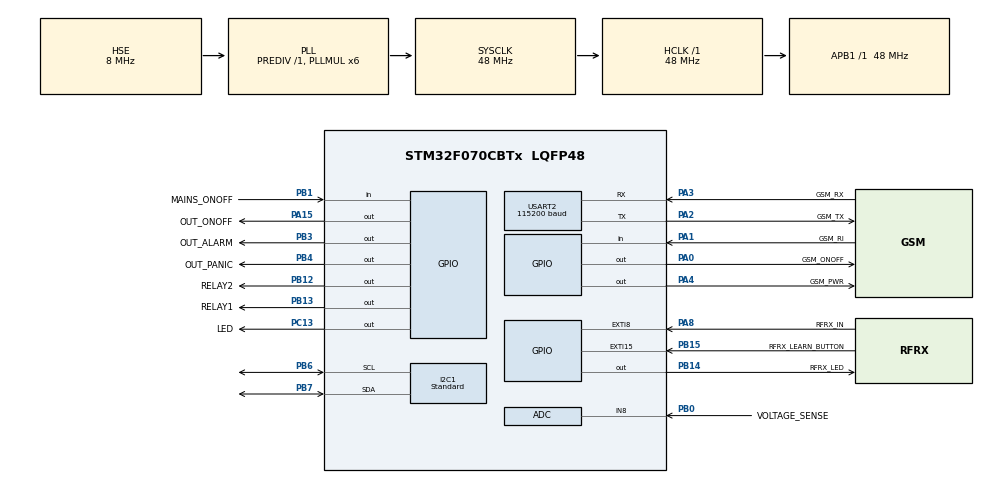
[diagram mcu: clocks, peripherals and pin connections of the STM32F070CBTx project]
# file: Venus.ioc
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ADC.ClockPrescaler=ADC_CLOCK_ASYNC_DIV1
ADC.ContinuousConvMode=DISABLE
ADC.DMAContinuousRequests=DISABLE
ADC.DataAlign=ADC_DATAALIGN_RIGHT
ADC.DiscontinuousConvMode=DISABLE
ADC.EOCSelection=ADC_EOC_SINGLE_CONV
ADC.EnableAnalogWatchDog=false
ADC.ExternalTrigConv=ADC_SOFTWARE_START
ADC.ExternalTrigConvEdge=ADC_EXTERNALTRIGCONVEDGE_NONE
ADC.LowPowerAutoPowerOff=DISABLE
ADC.LowPowerAutoWait=DISABLE
ADC.Overrun=ADC_OVR_DATA_PRESERVED
ADC.Resolution=ADC_RESOLUTION_12B
ADC.SamplingTime=ADC_SAMPLETIME_239CYCLES_5
ADC.ScanConvMode=ADC_SCAN_DIRECTION_FORWARD
FREERTOS.MEMORY_ALLOCATION=2
FREERTOS.Tasks01=defaultTask,0,256,StartDefaultTask,Default,NULL,Static,defaultTaskBuffer,defaultTaskControlBlock;GSMTask,-3,256,StartGSMTask,Default,NULL,Static,GSMTaskBuffer,GSMTaskControlBlock
FREERTOS.configMINIMAL_STACK_SIZE=256
FREERTOS.configTOTAL_HEAP_SIZE=2000
FREERTOS.configUSE_NEWLIB_REENTRANT=1
I2C1.I2C_Speed_Mode=I2C_Standard
IWDG.Prescaler=IWDG_PRESCALER_256
Mcu.Family=STM32F0
Mcu.Name=STM32F070CBTx
Mcu.Package=LQFP48
NVIC.ADC1_IRQn=true\:3\:0\:false\:true\:true\:5\:true\:true\:true\:true
NVIC.EXTI4_15_IRQn=true\:3\:0\:true\:true\:true\:8\:true\:true\:true\:true
NVIC.I2C1_IRQn=true\:3\:0\:false\:true\:true\:2\:true\:true\:true\:true
NVIC.RCC_IRQn=true\:3\:0\:false\:true\:true\:4\:true\:true\:false\:true
NVIC.RTC_IRQn=true\:3\:0\:false\:true\:true\:3\:true\:true\:true\:true
NVIC.TIM17_IRQn=true\:3\:0\:false\:false\:true\:false\:false\:true\:true
NVIC.TIM6_IRQn=true\:3\:0\:false\:true\:true\:6\:true\:true\:true\:true
NVIC.TIM7_IRQn=true\:3\:0\:false\:true\:true\:7\:true\:true\:true\:true
NVIC.TimeBase=TIM17_IRQn
NVIC.TimeBaseIP=TIM17
NVIC.USART2_IRQn=true\:3\:0\:false\:true\:true\:9\:true\:true\:true\:true
PA0.GPIO_Label=GSM_ONOFF
PA0.Signal=GPIO_Output
PA1.GPIO_Label=GSM_RI
PA1.Signal=GPIO_Input
PA13.Mode=Serial_Wire
PA13.Signal=SYS_SWDIO
PA14.Mode=Serial_Wire
PA14.Signal=SYS_SWCLK
PA15.GPIO_Label=OUT_ONOFF
PA15.Signal=GPIO_Output
PA2.GPIO_Label=GSM_TX
PA2.Mode=Asynchronous
PA2.Signal=USART2_TX
PA3.GPIO_Label=GSM_RX
PA3.Mode=Asynchronous
PA3.Signal=USART2_RX
PA4.GPIO_Label=GSM_PWR
PA4.Signal=GPIO_Output
PA8.GPIO_Label=RFRX_IN
PA8.GPIO_ModeDefaultEXTI=GPIO_MODE_IT_RISING_FALLING
PA8.Signal=GPXTI8
PB0.GPIO_Label=VOLTAGE_SENSE
PB0.Mode=IN8
PB0.Signal=ADC_IN8
PB1.GPIO_Label=MAINS_ONOFF
PB1.Signal=GPIO_Input
PB12.GPIO_Label=RELAY2
PB12.Signal=GPIO_Output
PB13.GPIO_Label=RELAY1
PB13.Signal=GPIO_Output
PB14.GPIO_Label=RFRX_LED
PB14.Signal=GPIO_Output
PB15.GPIO_Label=RFRX_LEARN_BUTTON
PB15.Signal=GPXTI15
PB3.GPIO_Label=OUT_ALARM
PB3.Signal=GPIO_Output
PB4.GPIO_Label=OUT_PANIC
PB4.Signal=GPIO_Output
PB6.GPIO_Pu=GPIO_PULLUP
PB6.Mode=I2C
PB6.Signal=I2C1_SCL
PB7.GPIO_Pu=GPIO_PULLUP
PB7.Mode=I2C
PB7.Signal=I2C1_SDA
PC13.GPIO_Label=LED
PC13.Signal=GPIO_Output
PC14-OSC32_IN.Mode=LSE-External-Oscillator
PC14-OSC32_IN.Signal=RCC_OSC32_IN
PC15-OSC32_OUT.Mode=LSE-External-Oscillator
PC15-OSC32_OUT.Signal=RCC_OSC32_OUT
PF0-OSC_IN.Mode=HSE-External-Oscillator
PF0-OSC_IN.Signal=RCC_OSC_IN
PF1-OSC_OUT.Mode=HSE-External-Oscillator
PF1-OSC_OUT.Signal=RCC_OSC_OUT
ProjectManager.HeapSize=0x200
ProjectManager.StackSize=0x400
ProjectManager.TargetToolchain=STM32CubeIDE
RCC.AHBFreq_Value=48000000
RCC.APB1Freq_Value=48000000
RCC.APB1TimFreq_Value=48000000
RCC.HCLKFreq_Value=48000000
RCC.PLLMUL=RCC_PLL_MUL6
RCC.PLLSourceVirtual=RCC_PLLSOURCE_HSE
RCC.RTCClockSelection=RCC_RTCCLKSOURCE_LSE
RCC.SYSCLKFreq_VALUE=48000000
RCC.SYSCLKSource=RCC_SYSCLKSOURCE_PLLCLK
RTC.Alarm-Alarm\ A=RTC_ALARM_A
RTC.AlarmMaskDateWeekDay-Alarm\ A=RTC_ALARMMASK_DATEWEEKDAY
RTC.AlarmMaskHours-Alarm\ A=RTC_ALARMMASK_HOURS
RTC.AlarmMaskMinutes-Alarm\ A=RTC_ALARMMASK_MINUTES
RTC.AlarmMaskSeconds-Alarm\ A=RTC_ALARMMASK_SECONDS
RTC.AlarmSubSecondMask-Alarm\ A=RTC_ALARMSUBSECONDMASK_NONE
RTC.Format=RTC_FORMAT_BIN
TIM6.Period=10000
TIM6.Prescaler=100
TIM7.Period=1000
TIM7.Prescaler=2000
USART2.AutoBaudRateEnableParam=UART_ADVFEATURE_AUTOBAUDRATE_DISABLE
USART2.BaudRate=115200
USART2.VirtualMode-Asynchronous=VM_ASYNC
USART2.WordLength=WORDLENGTH_8B
VP_FREERTOS_VS_CMSIS_V1.Mode=CMSIS_V1
VP_IWDG_VS_IWDG.Mode=IWDG_Activate
VP_RTC_VS_RTC_Activate.Mode=RTC_Enabled
VP_RTC_VS_RTC_Alarm_A_Intern.Mode=Alarm A
VP_RTC_VS_RTC_Calendar.Mode=RTC_Calendar
VP_SYS_VS_tim17.Mode=TIM17
VP_TIM6_VS_ClockSourceINT.Mode=Enable_Timer
VP_TIM7_VS_ClockSourceINT.Mode=Enable_Timer
board=Venus

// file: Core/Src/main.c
/* USER CODE BEGIN Header */
/**
  ******************************************************************************
  * @file           : main.c
  * @brief          : Main program body
  ******************************************************************************
  * @attention
  *
  * Copyright (c) 2022 STMicroelectronics.
  * All rights reserved.
  *
  * This software is licensed under terms that can be found in the LICENSE file
  * in the root directory of this software component.
  * If no LICENSE file comes with this software, it is provided AS-IS.
  *
  ******************************************************************************
  */
/* USER CODE END Header */
#include "main.h"
#include "cmsis_os.h"

/* USER CODE BEGIN Includes */
#include "EEPROM.h";
#include "SIM800H.h";
const unsigned char ACK[2] = {	0x06, 0x00 };
extern unsigned char U2Rx_data[];
/* USER CODE END Includes */

/* USER CODE BEGIN PTD */
//extern unsigned char RXTimeout;
unsigned char RXTimeout;
extern unsigned char aRxBuffer[];
extern unsigned char aTxBuffer[];

unsigned char RXBUF[];
unsigned char RXP;
unsigned char RXCP;
extern unsigned char SPIPageBUF[];

extern unsigned char Reload_Device_Flag;
extern unsigned char LearnMode;
extern unsigned char LearnTimeout;
extern unsigned char creg_timer;
extern float Bat_Low_V;
extern float Bat_Ok_V;
extern unsigned char prev_id;
extern unsigned int prev_id_timer;
extern unsigned char Health_TX_Hour;
extern unsigned char Health_TX_Minute;
extern unsigned char Health_TX_days;

extern unsigned int no_data_Timer;

extern unsigned char NO_SIM;

extern unsigned char PrevSerialNum[4];
extern unsigned char match;

unsigned char minute_flag = 0;
unsigned char sec = 0;

unsigned char Erase_RF_Devices = 0;

signed int ADCValue = 0;

unsigned char bat_sample = 0;
unsigned char Sample_Battery = 0;

unsigned char Battery_Low = 0;
unsigned char Battery_Ok = 0;
unsigned char BatLow_Debounce = 0;
unsigned char BatOk_Debounce = 0;

unsigned char Prev_Mains = 1;
unsigned char Mains_Debounce = 0;

unsigned char Message[200];
extern unsigned char Out_Message[]; // 200
unsigned char Loopcount;
unsigned char Check_GSM_Registered = 0;
unsigned char Reset_GSM_Flag = 0;
unsigned char GPRS_Enabled = 0;
unsigned char GPRS_Barear_Started = 0;
unsigned long running_seconds = 0;
unsigned char Update_Mem_Flag = 0;

unsigned int year = 0;
unsigned char month = 0;
unsigned char day = 0;
unsigned char hours = 0;
unsigned char minutes = 0;
unsigned char seconds = 0;

unsigned char Disable_LED = 0;

unsigned char Airtime_Req_Timer = 0;

unsigned char TX_days_counter = 0;

unsigned char Panic_Out_Time = 0;
unsigned char Alarm_Out_Time = 0;
unsigned int Buzzer_Time = 0;
unsigned int Siren_Time = 0;

unsigned char Arm_Status = 0;
unsigned char Learn_Button_Time = 0;

extern unsigned int MesQue_Head;
extern unsigned int MesQue_Tail;

unsigned char Send_Health_Message = 0;

extern float BatteryVoltage;

#define TIMESYNC_SMS					100
#define PASSWORDS						101
#define SMSC_NUMBERS					102
#define TIME_24H_MESSAGE				103
#define INPUT_STATUS1_2					104
#define OUTPUTS_TIMER_VALUES			105
#define SIGNAL_STRENGTH					106
#define SOFTWARE_VERSION				107
#define AIRTIME							108
#define DATETIME						109
#define CELLREQ							110
#define OUTPUTS_STATUS					111
#define GPRS_SETTINGS_MESSAGE			112
#define GPRS_STATUS_MESSAGE				113
#define INPUT_STATUS5_6					114
#define CELL_LOCATION					115
/* USER CODE END PTD */

ADC_HandleTypeDef hadc;

I2C_HandleTypeDef hi2c1;

IWDG_HandleTypeDef hiwdg;

RTC_HandleTypeDef hrtc;

TIM_HandleTypeDef htim6;
TIM_HandleTypeDef htim7;

UART_HandleTypeDef huart2;

osThreadId defaultTaskHandle;
uint32_t defaultTaskBuffer[ 256 ];
osStaticThreadDef_t defaultTaskControlBlock;
osThreadId GSMTaskHandle;
uint32_t GSMTaskBuffer[ 256 ];
osStaticThreadDef_t GSMTaskControlBlock;

void SystemClock_Config(void);
static void MX_GPIO_Init(void);
static void MX_ADC_Init(void);
static void MX_I2C1_Init(void);
static void MX_RTC_Init(void);
static void MX_USART2_UART_Init(void);
static void MX_IWDG_Init(void);
static void MX_TIM6_Init(void);
static void MX_TIM7_Init(void);
void StartDefaultTask(void const * argument);
void StartGSMTask(void const * argument);

static void MX_NVIC_Init(void);

/* USER CODE BEGIN 0 */
void HAL_UART_RxCpltCallback(UART_HandleTypeDef *huart)
{
	if (huart->Instance == USART2)	//current UART
	{
		SIM800H_RX();
	}
}

/*
void Clear_RX_Buf(void)
{ unsigned int t = 0;
  for(t = 0;t < 256;t++) {
    RXBUF[t]=0;
  }
  RXP=0;
  RXCP=0;
}

unsigned char Search_RXBUF(void)
//   Search String = BUF
{ 	unsigned char x, y, Match, Pos, tc;
	unsigned char write_failed = 0;
	unsigned long addr;
	unsigned char * end;

	Pos=0xFF;
	y=0;
	Match=0;
	x=RXCP;
	while(x!=RXP) {
		if((RXBUF[x]>0)&&(RXBUF[x]<8)) {
			if(RXP!=(x-1)) {
				if((RXBUF[x] == 2)||(RXBUF[x] == 6))  {  // Write 24LC256 or 24LC512
					//smalleeprom = 0;
					write_failed = 0;
				    Match=x;
					Match++;
					if(Match!=RXP) {
						addr = RXBUF[Match] << 8;
						Match++;
						if(Match!=RXP) { addr |= RXBUF[Match];  Match++; }
						  else {
							  RXCP=Match;
							  break;
						  }  //  exit if not valid
						memcpy(&aTxBuffer, &RXBUF[3], RXP - 3);
						if(IIC_EEPROM_Write_Page(addr, RXP-3) == 0) {
							CDC_Transmit_FS(ACK, 1);  // Send ACK to PC
						} else {
							Clear_RX_Buf();
							break;
						}
					}
					Clear_RX_Buf();
					break;
				} else if((RXBUF[x] == 4)||(RXBUF[x] == 7))  {  // Read 24LC256 or 24LC512
					  //smalleeprom = 0;
					  Match=x;
					  Match++;
					  if(Match!=RXP) {
						  addr = RXBUF[Match] << 8;
						  Match++;
						  if(Match!=RXP) { addr |= RXBUF[Match];  Match++; }
							  else { RXCP=Match;  break; }  //  exit if not valid
						  tc = RXBUF[Match];
						  IIC_EEPROM_Read_Page(addr, 128);
						  end = memchr(aRxBuffer, tc, 128);
						  if(end == NULL) {
							  CDC_Transmit_FS(aRxBuffer, 64);
						  } else {
							  CDC_Transmit_FS(aRxBuffer, end - &aRxBuffer[0] + 1);
						  }

					  }
					  Clear_RX_Buf();
					  break;
			    } else if(RXBUF[x] == 5)  {  // Check Hardeware version
			    	Match=x;
			    	if(Match!=RXP) {
						CDC_Transmit_FS(ACK, 1);  // Send ACK to PC
					}
					Clear_RX_Buf();
					break;
			    } else {
					Clear_RX_Buf();
					break;
				}
			} else { // end if RXP!=
				Clear_RX_Buf();
				break;
			}
		}
		x++;
	}

	return(1);
}
*/
/* USER CODE END 0 */

int main(void)
{

  /* MCU Configuration--------------------------------------------------------*/

  /* Reset of all peripherals, Initializes the Flash interface and the Systick. */
  HAL_Init();

  /* Configure the system clock */
  SystemClock_Config();

  /* Initialize all configured peripherals */
  MX_GPIO_Init();
  MX_ADC_Init();
  MX_I2C1_Init();
  MX_RTC_Init();
  MX_USART2_UART_Init();
  MX_IWDG_Init();
  MX_TIM6_Init();
  MX_TIM7_Init();

  /* Initialize interrupts */
  MX_NVIC_Init();
  /* USER CODE BEGIN 2 */

   HAL_UART_Receive_IT(&huart2, U2Rx_data, 1);  // enable UART2 RX interrupt on RX
  /* USER CODE END 2 */

  /* Create the thread(s) */
  /* definition and creation of defaultTask */
  osThreadStaticDef(defaultTask, StartDefaultTask, osPriorityNormal, 0, 256, defaultTaskBuffer, &defaultTaskControlBlock);
  defaultTaskHandle = osThreadCreate(osThread(defaultTask), NULL);

  /* definition and creation of GSMTask */
  osThreadStaticDef(GSMTask, StartGSMTask, osPriorityIdle, 0, 256, GSMTaskBuffer, &GSMTaskControlBlock);
  GSMTaskHandle = osThreadCreate(osThread(GSMTask), NULL);

  /* Start scheduler */
  osKernelStart();

  /* We should never get here as control is now taken by the scheduler */
  /* Infinite loop */
  while (1)
  {

  }
}

void SystemClock_Config(void)
{
  RCC_OscInitTypeDef RCC_OscInitStruct = {0};
  RCC_ClkInitTypeDef RCC_ClkInitStruct = {0};
  RCC_PeriphCLKInitTypeDef PeriphClkInit = {0};

  /** Configure LSE Drive Capability
  */
  HAL_PWR_EnableBkUpAccess();
  __HAL_RCC_LSEDRIVE_CONFIG(RCC_LSEDRIVE_HIGH);

  /** Initializes the RCC Oscillators according to the specified parameters
  * in the RCC_OscInitTypeDef structure.
  */
  RCC_OscInitStruct.OscillatorType = RCC_OSCILLATORTYPE_HSI|RCC_OSCILLATORTYPE_HSI14
                              |RCC_OSCILLATORTYPE_LSI|RCC_OSCILLATORTYPE_HSE
                              |RCC_OSCILLATORTYPE_LSE;
  RCC_OscInitStruct.HSEState = RCC_HSE_ON;
  RCC_OscInitStruct.LSEState = RCC_LSE_ON;
  RCC_OscInitStruct.HSIState = RCC_HSI_ON;
  RCC_OscInitStruct.HSI14State = RCC_HSI14_ON;
  RCC_OscInitStruct.HSICalibrationValue = RCC_HSICALIBRATION_DEFAULT;
  RCC_OscInitStruct.HSI14CalibrationValue = 16;
  RCC_OscInitStruct.LSIState = RCC_LSI_ON;
  RCC_OscInitStruct.PLL.PLLState = RCC_PLL_ON;
  RCC_OscInitStruct.PLL.PLLSource = RCC_PLLSOURCE_HSE;
  RCC_OscInitStruct.PLL.PLLMUL = RCC_PLL_MUL6;
  RCC_OscInitStruct.PLL.PREDIV = RCC_PREDIV_DIV1;
  if (HAL_RCC_OscConfig(&RCC_OscInitStruct) != HAL_OK)
  {
    Error_Handler();
  }

  /** Initializes the CPU, AHB and APB buses clocks
  */
  RCC_ClkInitStruct.ClockType = RCC_CLOCKTYPE_HCLK|RCC_CLOCKTYPE_SYSCLK
                              |RCC_CLOCKTYPE_PCLK1;
  RCC_ClkInitStruct.SYSCLKSource = RCC_SYSCLKSOURCE_PLLCLK;
  RCC_ClkInitStruct.AHBCLKDivider = RCC_SYSCLK_DIV1;
  RCC_ClkInitStruct.APB1CLKDivider = RCC_HCLK_DIV1;

  if (HAL_RCC_ClockConfig(&RCC_ClkInitStruct, FLASH_LATENCY_1) != HAL_OK)
  {
    Error_Handler();
  }
  PeriphClkInit.PeriphClockSelection = RCC_PERIPHCLK_I2C1|RCC_PERIPHCLK_RTC;
  PeriphClkInit.I2c1ClockSelection = RCC_I2C1CLKSOURCE_HSI;
  PeriphClkInit.RTCClockSelection = RCC_RTCCLKSOURCE_LSE;
  if (HAL_RCCEx_PeriphCLKConfig(&PeriphClkInit) != HAL_OK)
  {
    Error_Handler();
  }
}

/**
  * @brief NVIC Configuration.
  * @retval None
  */
static void MX_NVIC_Init(void)
{
  /* I2C1_IRQn interrupt configuration */
  HAL_NVIC_SetPriority(I2C1_IRQn, 3, 0);
  HAL_NVIC_EnableIRQ(I2C1_IRQn);
  /* RTC_IRQn interrupt configuration */
  HAL_NVIC_SetPriority(RTC_IRQn, 3, 0);
  HAL_NVIC_EnableIRQ(RTC_IRQn);
  /* RCC_IRQn interrupt configuration */
  HAL_NVIC_SetPriority(RCC_IRQn, 3, 0);
  HAL_NVIC_EnableIRQ(RCC_IRQn);
  /* ADC1_IRQn interrupt configuration */
  HAL_NVIC_SetPriority(ADC1_IRQn, 3, 0);
  HAL_NVIC_EnableIRQ(ADC1_IRQn);
  /* TIM6_IRQn interrupt configuration */
  HAL_NVIC_SetPriority(TIM6_IRQn, 3, 0);
  HAL_NVIC_EnableIRQ(TIM6_IRQn);
  /* TIM7_IRQn interrupt configuration */
  HAL_NVIC_SetPriority(TIM7_IRQn, 3, 0);
  HAL_NVIC_EnableIRQ(TIM7_IRQn);
  /* EXTI4_15_IRQn interrupt configuration */
  HAL_NVIC_SetPriority(EXTI4_15_IRQn, 3, 0);
  HAL_NVIC_EnableIRQ(EXTI4_15_IRQn);
  /* USART2_IRQn interrupt configuration */
  HAL_NVIC_SetPriority(USART2_IRQn, 3, 0);
  HAL_NVIC_EnableIRQ(USART2_IRQn);
}

static void MX_ADC_Init(void)
{

  ADC_ChannelConfTypeDef sConfig = {0};

  /** Configure the global features of the ADC (Clock, Resolution, Data Alignment and number of conversion)
  */
  hadc.Instance = ADC1;
  hadc.Init.ClockPrescaler = ADC_CLOCK_ASYNC_DIV1;
  hadc.Init.Resolution = ADC_RESOLUTION_12B;
  hadc.Init.DataAlign = ADC_DATAALIGN_RIGHT;
  hadc.Init.ScanConvMode = ADC_SCAN_DIRECTION_FORWARD;
  hadc.Init.EOCSelection = ADC_EOC_SINGLE_CONV;
  hadc.Init.LowPowerAutoWait = DISABLE;
  hadc.Init.LowPowerAutoPowerOff = DISABLE;
  hadc.Init.ContinuousConvMode = DISABLE;
  hadc.Init.DiscontinuousConvMode = DISABLE;
  hadc.Init.ExternalTrigConv = ADC_SOFTWARE_START;
  hadc.Init.ExternalTrigConvEdge = ADC_EXTERNALTRIGCONVEDGE_NONE;
  hadc.Init.DMAContinuousRequests = DISABLE;
  hadc.Init.Overrun = ADC_OVR_DATA_PRESERVED;
  if (HAL_ADC_Init(&hadc) != HAL_OK)
  {
    Error_Handler();
  }

  /** Configure for the selected ADC regular channel to be converted.
  */
  sConfig.Channel = ADC_CHANNEL_8;
  sConfig.Rank = ADC_RANK_CHANNEL_NUMBER;
  sConfig.SamplingTime = ADC_SAMPLETIME_239CYCLES_5;
  if (HAL_ADC_ConfigChannel(&hadc, &sConfig) != HAL_OK)
  {
    Error_Handler();
  }

}

static void MX_I2C1_Init(void)
{

  hi2c1.Instance = I2C1;
  hi2c1.Init.Timing = 0x2000090E;
  hi2c1.Init.OwnAddress1 = 0;
  hi2c1.Init.AddressingMode = I2C_ADDRESSINGMODE_7BIT;
  hi2c1.Init.DualAddressMode = I2C_DUALADDRESS_DISABLE;
  hi2c1.Init.OwnAddress2 = 0;
  hi2c1.Init.OwnAddress2Masks = I2C_OA2_NOMASK;
  hi2c1.Init.GeneralCallMode = I2C_GENERALCALL_DISABLE;
  hi2c1.Init.NoStretchMode = I2C_NOSTRETCH_DISABLE;
  if (HAL_I2C_Init(&hi2c1) != HAL_OK)
  {
    Error_Handler();
  }

  /** Configure Analogue filter
  */
  if (HAL_I2CEx_ConfigAnalogFilter(&hi2c1, I2C_ANALOGFILTER_ENABLE) != HAL_OK)
  {
    Error_Handler();
  }

  /** Configure Digital filter
  */
  if (HAL_I2CEx_ConfigDigitalFilter(&hi2c1, 0) != HAL_OK)
  {
    Error_Handler();
  }

}

static void MX_IWDG_Init(void)
{

  hiwdg.Instance = IWDG;
  hiwdg.Init.Prescaler = IWDG_PRESCALER_256;
  hiwdg.Init.Window = 4095;
  hiwdg.Init.Reload = 4095;
  if (HAL_IWDG_Init(&hiwdg) != HAL_OK)
  {
    Error_Handler();
  }

}

static void MX_RTC_Init(void)
{

  RTC_TimeTypeDef sTime = {0};
  RTC_DateTypeDef sDate = {0};
  RTC_AlarmTypeDef sAlarm = {0};

  /** Initialize RTC Only
  */
  hrtc.Instance = RTC;
  hrtc.Init.HourFormat = RTC_HOURFORMAT_24;
  hrtc.Init.AsynchPrediv = 127;
  hrtc.Init.SynchPrediv = 255;
  hrtc.Init.OutPut = RTC_OUTPUT_DISABLE;
  hrtc.Init.OutPutPolarity = RTC_OUTPUT_POLARITY_HIGH;
  hrtc.Init.OutPutType = RTC_OUTPUT_TYPE_OPENDRAIN;
  if (HAL_RTC_Init(&hrtc) != HAL_OK)
  {
    Error_Handler();
  }

  /** Initialize RTC and set the Time and Date
  */
  sTime.Hours = 0;
  sTime.Minutes = 0;
  sTime.Seconds = 0;
  sTime.DayLightSaving = RTC_DAYLIGHTSAVING_NONE;
  sTime.StoreOperation = RTC_STOREOPERATION_RESET;
  if (HAL_RTC_SetTime(&hrtc, &sTime, RTC_FORMAT_BIN) != HAL_OK)
  {
    Error_Handler();
  }
  sDate.WeekDay = RTC_WEEKDAY_MONDAY;
  sDate.Month = RTC_MONTH_JANUARY;
  sDate.Date = 1;
  sDate.Year = 0;

  if (HAL_RTC_SetDate(&hrtc, &sDate, RTC_FORMAT_BIN) != HAL_OK)
  {
    Error_Handler();
  }

  /** Enable the Alarm A
  */
  sAlarm.AlarmTime.Hours = 0;
  sAlarm.AlarmTime.Minutes = 0;
  sAlarm.AlarmTime.Seconds = 0;
  sAlarm.AlarmTime.SubSeconds = 0;
  sAlarm.AlarmTime.DayLightSaving = RTC_DAYLIGHTSAVING_NONE;
  sAlarm.AlarmTime.StoreOperation = RTC_STOREOPERATION_RESET;
  sAlarm.AlarmMask = RTC_ALARMMASK_ALL;
  sAlarm.AlarmSubSecondMask = RTC_ALARMSUBSECONDMASK_NONE;
  sAlarm.AlarmDateWeekDaySel = RTC_ALARMDATEWEEKDAYSEL_DATE;
  sAlarm.AlarmDateWeekDay = 1;
  sAlarm.Alarm = RTC_ALARM_A;
  if (HAL_RTC_SetAlarm_IT(&hrtc, &sAlarm, RTC_FORMAT_BIN) != HAL_OK)
  {
    Error_Handler();
  }

}

static void MX_TIM6_Init(void)
{

  htim6.Instance = TIM6;
  htim6.Init.Prescaler = 100;
  htim6.Init.CounterMode = TIM_COUNTERMODE_UP;
  htim6.Init.Period = 10000;
  htim6.Init.AutoReloadPreload = TIM_AUTORELOAD_PRELOAD_DISABLE;
  if (HAL_TIM_Base_Init(&htim6) != HAL_OK)
  {
    Error_Handler();
  }
  /* USER CODE BEGIN TIM6_Init 2 */
  HAL_TIM_Base_Start_IT(&htim6);
  /* USER CODE END TIM6_Init 2 */

}

static void MX_TIM7_Init(void)
{

  htim7.Instance = TIM7;
  htim7.Init.Prescaler = 2000;
  htim7.Init.CounterMode = TIM_COUNTERMODE_UP;
  htim7.Init.Period = 1000;
  htim7.Init.AutoReloadPreload = TIM_AUTORELOAD_PRELOAD_DISABLE;
  if (HAL_TIM_Base_Init(&htim7) != HAL_OK)
  {
    Error_Handler();
  }
  /* USER CODE BEGIN TIM7_Init 2 */
  HAL_TIM_Base_Start_IT(&htim7);
  /* USER CODE END TIM7_Init 2 */

}

static void MX_USART2_UART_Init(void)
{

  huart2.Instance = USART2;
  huart2.Init.BaudRate = 115200;
  huart2.Init.WordLength = UART_WORDLENGTH_8B;
  huart2.Init.StopBits = UART_STOPBITS_1;
  huart2.Init.Parity = UART_PARITY_NONE;
  huart2.Init.Mode = UART_MODE_TX_RX;
  huart2.Init.HwFlowCtl = UART_HWCONTROL_NONE;
  huart2.Init.OverSampling = UART_OVERSAMPLING_16;
  huart2.Init.OneBitSampling = UART_ONE_BIT_SAMPLE_DISABLE;
  huart2.AdvancedInit.AdvFeatureInit = UART_ADVFEATURE_NO_INIT;
  if (HAL_UART_Init(&huart2) != HAL_OK)
  {
    Error_Handler();
  }

}

static void MX_GPIO_Init(void)
{
  GPIO_InitTypeDef GPIO_InitStruct = {0};

  /* GPIO Ports Clock Enable */
  __HAL_RCC_GPIOC_CLK_ENABLE();
  __HAL_RCC_GPIOF_CLK_ENABLE();
  __HAL_RCC_GPIOA_CLK_ENABLE();
  __HAL_RCC_GPIOB_CLK_ENABLE();

  /*Configure GPIO pin Output Level */
  HAL_GPIO_WritePin(LED_GPIO_Port, LED_Pin, GPIO_PIN_RESET);

  /*Configure GPIO pin Output Level */
  HAL_GPIO_WritePin(GPIOA, GSM_ONOFF_Pin|GSM_PWR_Pin|OUT_ONOFF_Pin, GPIO_PIN_RESET);

  /*Configure GPIO pin Output Level */
  HAL_GPIO_WritePin(GPIOB, RELAY2_Pin|RELAY1_Pin|RFRX_LED_Pin|OUT_ALARM_Pin
                          |OUT_PANIC_Pin, GPIO_PIN_RESET);

  /*Configure GPIO pin : LED_Pin */
  GPIO_InitStruct.Pin = LED_Pin;
  GPIO_InitStruct.Mode = GPIO_MODE_OUTPUT_PP;
  GPIO_InitStruct.Pull = GPIO_NOPULL;
  GPIO_InitStruct.Speed = GPIO_SPEED_FREQ_LOW;
  HAL_GPIO_Init(LED_GPIO_Port, &GPIO_InitStruct);

  /*Configure GPIO pins : GSM_ONOFF_Pin GSM_PWR_Pin OUT_ONOFF_Pin */
  GPIO_InitStruct.Pin = GSM_ONOFF_Pin|GSM_PWR_Pin|OUT_ONOFF_Pin;
  GPIO_InitStruct.Mode = GPIO_MODE_OUTPUT_PP;
  GPIO_InitStruct.Pull = GPIO_NOPULL;
  GPIO_InitStruct.Speed = GPIO_SPEED_FREQ_LOW;
  HAL_GPIO_Init(GPIOA, &GPIO_InitStruct);

  /*Configure GPIO pin : GSM_RI_Pin */
  GPIO_InitStruct.Pin = GSM_RI_Pin;
  GPIO_InitStruct.Mode = GPIO_MODE_INPUT;
  GPIO_InitStruct.Pull = GPIO_NOPULL;
  HAL_GPIO_Init(GSM_RI_GPIO_Port, &GPIO_InitStruct);

  /*Configure GPIO pins : PA5 PA6 PA7 PA9
                           PA10 PA11 PA12 */
  GPIO_InitStruct.Pin = GPIO_PIN_5|GPIO_PIN_6|GPIO_PIN_7|GPIO_PIN_9
                          |GPIO_PIN_10|GPIO_PIN_11|GPIO_PIN_12;
  GPIO_InitStruct.Mode = GPIO_MODE_ANALOG;
  GPIO_InitStruct.Pull = GPIO_NOPULL;
  HAL_GPIO_Init(GPIOA, &GPIO_InitStruct);

  /*Configure GPIO pin : MAINS_ONOFF_Pin */
  GPIO_InitStruct.Pin = MAINS_ONOFF_Pin;
  GPIO_InitStruct.Mode = GPIO_MODE_INPUT;
  GPIO_InitStruct.Pull = GPIO_NOPULL;
  HAL_GPIO_Init(MAINS_ONOFF_GPIO_Port, &GPIO_InitStruct);

  /*Configure GPIO pins : PB2 PB10 PB11 PB5
                           PB8 PB9 */
  GPIO_InitStruct.Pin = GPIO_PIN_2|GPIO_PIN_10|GPIO_PIN_11|GPIO_PIN_5
                          |GPIO_PIN_8|GPIO_PIN_9;
  GPIO_InitStruct.Mode = GPIO_MODE_ANALOG;
  GPIO_InitStruct.Pull = GPIO_NOPULL;
  HAL_GPIO_Init(GPIOB, &GPIO_InitStruct);

  /*Configure GPIO pins : RELAY2_Pin RELAY1_Pin RFRX_LED_Pin OUT_ALARM_Pin
                           OUT_PANIC_Pin */
  GPIO_InitStruct.Pin = RELAY2_Pin|RELAY1_Pin|RFRX_LED_Pin|OUT_ALARM_Pin
                          |OUT_PANIC_Pin;
  GPIO_InitStruct.Mode = GPIO_MODE_OUTPUT_PP;
  GPIO_InitStruct.Pull = GPIO_NOPULL;
  GPIO_InitStruct.Speed = GPIO_SPEED_FREQ_LOW;
  HAL_GPIO_Init(GPIOB, &GPIO_InitStruct);

  /*Configure GPIO pin : RFRX_LEARN_BUTTON_Pin */
  GPIO_InitStruct.Pin = RFRX_LEARN_BUTTON_Pin;
  GPIO_InitStruct.Mode = GPIO_MODE_IT_RISING;
  GPIO_InitStruct.Pull = GPIO_NOPULL;
  HAL_GPIO_Init(RFRX_LEARN_BUTTON_GPIO_Port, &GPIO_InitStruct);

  /*Configure GPIO pin : RFRX_IN_Pin */
  GPIO_InitStruct.Pin = RFRX_IN_Pin;
  GPIO_InitStruct.Mode = GPIO_MODE_IT_RISING_FALLING;
  GPIO_InitStruct.Pull = GPIO_NOPULL;
  HAL_GPIO_Init(RFRX_IN_GPIO_Port, &GPIO_InitStruct);

}

/* USER CODE BEGIN 4 */
void HAL_RTC_AlarmAEventCallback(RTC_HandleTypeDef *hrtc)
{	// 1 Second Interrupt

	if(Siren_Time > 0) {
		Siren_Time--;
		if(Siren_Time == 0) {
			HAL_GPIO_WritePin(GPIOB, RELAY1_Pin, GPIO_PIN_RESET);
		} else {
			HAL_GPIO_WritePin(GPIOB, RELAY1_Pin, GPIO_PIN_SET);
		}
	}

	if(Buzzer_Time > 0) {
		Buzzer_Time--;
		if(Buzzer_Time == 0) {
			HAL_GPIO_WritePin(GPIOB, RELAY2_Pin, GPIO_PIN_RESET);
		} else {
			HAL_GPIO_WritePin(GPIOB, RELAY2_Pin, GPIO_PIN_SET);
		}
	}

	if(Alarm_Out_Time > 0) {
		Alarm_Out_Time--;
		if(Alarm_Out_Time == 0) {
			HAL_GPIO_WritePin(GPIOB, OUT_ALARM_Pin, GPIO_PIN_RESET);
		} else {
			HAL_GPIO_WritePin(GPIOB, OUT_ALARM_Pin, GPIO_PIN_SET);
		}
	}

	if(Panic_Out_Time > 0) {
		Panic_Out_Time--;
		if(Panic_Out_Time == 0) {
			HAL_GPIO_WritePin(GPIOB, OUT_PANIC_Pin, GPIO_PIN_RESET);
		} else {
			HAL_GPIO_WritePin(GPIOB, OUT_PANIC_Pin, GPIO_PIN_SET);
		}
	}

	if(HAL_GPIO_ReadPin(RFRX_LEARN_BUTTON_GPIO_Port, RFRX_LEARN_BUTTON_Pin) == 0) {
		Learn_Button_Time++;
		if(Learn_Button_Time >= 5) {
			Erase_RF_Devices = 1;
			Learn_Button_Time = 0;
		}
	} else {
		Learn_Button_Time = 0;
	}

	if(LearnTimeout > 0) {
		LearnTimeout--;
		if(LearnTimeout == 0) {
			LearnMode = 0;
			HAL_GPIO_WritePin(GPIOB, RFRX_LED_Pin, GPIO_PIN_RESET);
		}
	}

	if(creg_timer > 0) {
		creg_timer--;
	}

	sec++;
	if(sec > 59) {
		minute_flag = 1;
		sec = 0;
	}

	if(bat_sample > 10) {
		bat_sample = 0;
		Sample_Battery = 1;

	} else {
		bat_sample++;
	}

	no_data_Timer++;
	if(no_data_Timer == 3) {
		memset(PrevSerialNum, 0, 4);
		match = 0;

	}

	if(Airtime_Req_Timer > 0) {
		Airtime_Req_Timer--;
	}
}

/* USER CODE END 4 */

void StartDefaultTask(void const * argument)
{
  /* USER CODE BEGIN 5 */
  unsigned char t = 0;
  /* Infinite loop */
//  Message[0] = TIMESYNC_SMS;
//    Message[1] = 0;
//    Add_Message_to_Que(Message, 1, EE_OWN_NUMBER, 0, TRUE);

//	Message[0] = AIRTIME;
//	Message[1] = 0;
//	Add_Message_to_Que(Message, 0, 0, 0, TRUE);

    Reload_Device_Flag = 1;
    Update_Mem_Flag = TRUE;

    for(;;)
    {
  	if(t > 5) {
  		HAL_GPIO_TogglePin(LED_GPIO_Port, LED_Pin);
  		t = 0;
  	}
  	t++;

  	if(Update_Mem_Flag == TRUE) {
  		Update_Mem_Flag = FALSE;
  		Update_Mem_Values();
  	}

  	Check_RF_Flags();

  //	if(RXTimeout == 2) {
 // 		Search_RXBUF();
 // 	} else if(RXTimeout < 10){
 // 		RXTimeout++;
 // 	}

  	if(minute_flag == 1) {
  			minute_flag = 0;

  			RTC_TimeTypeDef sTime;
  			RTC_DateTypeDef sDate;

  			HAL_RTC_GetTime(&hrtc, &sTime, RTC_FORMAT_BIN);
  			HAL_RTC_GetDate(&hrtc, &sDate, RTC_FORMAT_BIN);

  			if(((unsigned char)sTime.Hours == (unsigned char)Health_TX_Hour)&&((unsigned char)sTime.Minutes == (unsigned char)Health_TX_Minute)) {
  				TX_days_counter++;
  				if(TX_days_counter >= Health_TX_days) {
  					TX_days_counter = 0;

  					Send_Health_Message = TRUE;
  				}
  			}

  		}

  		if(Send_Health_Message == TRUE) {
  			Send_Health_Message = FALSE;
  			Read_Settings(EE_PREPAID_USSD);
  			if((SPIPageBUF[0] == '*')&&(strlen(SPIPageBUF) > 2)) {
  				Message[0] = AIRTIME;
  				Message[1] = 0;
  				Message[2] = 0;
  			} else {
  				Message[0] = 114;
  				Message[1] = EE_AT_MESSAGE;
  				Message[2] = 0;
  			}
  			Add_Message_to_Que(Message, 0, 0, 0, TRUE);

  			Message[0] = TIMESYNC_SMS;
  			Message[1] = 0;
  			Add_Message_to_Que(Message, 1, EE_OWN_NUMBER, 0, TRUE);
  		}

  		if(prev_id_timer > 0) {
  			prev_id_timer--;
  			if(prev_id_timer == 0) {
  				prev_id = 0;
  			}
  		}

  		if(Sample_Battery == 1) {
  			Sample_Battery = 0;
  			if (HAL_ADC_Start(&hadc) != HAL_OK)
  			{
  				/* Start Conversation Error */
  			}
  			if (HAL_ADC_PollForConversion(&hadc, 500) != HAL_OK)
  			{
  				/* End Of Conversion flag not set on time */
  				ADCValue=-1;
  			}
  			else
  			{
  				/* ADC conversion completed */
  				/*##-5- Get the converted value of regular channel ########################*/
  				ADCValue = HAL_ADC_GetValue(&hadc);
  				BatteryVoltage = (ADCValue * 0.00388);
  			}
  			HAL_ADC_Stop(&hadc);

  			if((BatteryVoltage <  Bat_Low_V)&&(Battery_Low == 0)) {
  				if(BatLow_Debounce > 10) {
  					Battery_Low = 1;
  					Battery_Ok = 0;

  					Message[0] = EE_BATTERY_LOW;
  					Message[1] = EE_AT_MESSAGE;
  					Message[2] = 0;
  					Add_Message_to_Que(Message, 0, 0, 0, TRUE);

  				} else {
  					BatLow_Debounce++;
  				}
  			} else if((BatteryVoltage >  Bat_Ok_V)&&(Battery_Ok == 0)) {
  				if(BatOk_Debounce > 10) {
  					Battery_Low = 0;
  					Battery_Ok = 1;

  					Message[0] = EE_BATTERY_OK;
  					Message[1] = EE_AT_MESSAGE;
  					Message[2] = 0;
  					Add_Message_to_Que(Message, 0, 0, 0, TRUE);

  				} else {
  					BatOk_Debounce++;
  				}
  			}

  			if(HAL_GPIO_ReadPin(GPIOB, MAINS_ONOFF_Pin) != Prev_Mains) {
  				if(Mains_Debounce < 200) {
  					Mains_Debounce++;
  					if(Mains_Debounce == 20) {
  						Prev_Mains = HAL_GPIO_ReadPin(GPIOB, MAINS_ONOFF_Pin);
  						if(Prev_Mains == 1) {
  							Message[0] = EE_MAINS_ON;
  							Message[1] = EE_AT_MESSAGE;
  							Message[2] = 0;
  							Add_Message_to_Que(Message, 0, 0, 0, TRUE);
  						} else {
  							Message[0] = EE_MAINS_OFF;
  							Message[1] = EE_AT_MESSAGE;
  							Message[2] = 0;
  							Add_Message_to_Que(Message, 0, 0, 0, TRUE);
  						}
  					}
  				}
  			} else {
  				Mains_Debounce = 0;
  			}
  		}

  		if(Erase_RF_Devices == 1) {
  			Disable_LED = 1;
  			Clear_RF_Device_List();
  			for(unsigned char u = 0; u < 20; u++) {

  				HAL_GPIO_WritePin(GPIOB, RFRX_LED_Pin, GPIO_PIN_SET);
  				Delay_LED();   Delay_LED();  	Delay_LED();   Delay_LED();

  				HAL_GPIO_WritePin(GPIOB, RFRX_LED_Pin, GPIO_PIN_RESET);
  				Delay_LED();  Delay_LED();  	Delay_LED();   Delay_LED();
  			}
  			Disable_LED = 0;
  			Erase_RF_Devices = 0;
  			LearnMode = 0;
  		}

  	    osDelay(20);
  	  }
  /* USER CODE END 5 */
}

void StartGSMTask(void const * argument)
{
  /* USER CODE BEGIN StartGSMTask */
  /* Infinite loop */
	 Reset_GSM_Flag = 1;

	  /* Infinite loop */
	  for(;;)
	  {
		  HAL_IWDG_Refresh(&hiwdg);
		  	HAL_UART_Receive_IT(&huart2, U2Rx_data, 1);  // enable UART2 RX interrupt on RX

		  	if(Loopcount < 40) {
		  		Loopcount++;
		  	} else {
		  		if(Check_GSM_Registered) {
		  			Check_GSM_Registered = FALSE;
		  			if(!SIM800H_Register_Status()) {
		  				SIM800H_Restart();
		  			}
		  		}
		  		if(NO_SIM == 0 && Check_for_Messages()) {
		  			Loopcount = 30;
		  		} else {
		  			Loopcount = 0;
		  		}

		  	}

		  	if(Reset_GSM_Flag == TRUE) {
		  		Reset_GSM_Flag = FALSE;

		  		SIM800H_Restart();

		  	}

		  	if(Check_MessageQue() == TRUE) {   // Check if there is message to be send
		  		HAL_IWDG_Refresh(&hiwdg);
		  		if(GPRS_Enabled == TRUE) {
		  			if(GPRS_Barear_Started != TRUE) {
		  				SIM800H_Restart();
		  			}
		  		}
		  		running_seconds = 0;  // clear watchdog counter
		  		Send_Message(Out_Message);
		  	}

		  	osDelay(50);  // 100

	  }
  /* USER CODE END StartGSMTask */
}

void HAL_TIM_PeriodElapsedCallback(TIM_HandleTypeDef *htim)
{
  if (htim->Instance == TIM17) {
    HAL_IncTick();
  }
}

void Error_Handler(void)
{
  __disable_irq();
  while (1)
  {
  }
}
